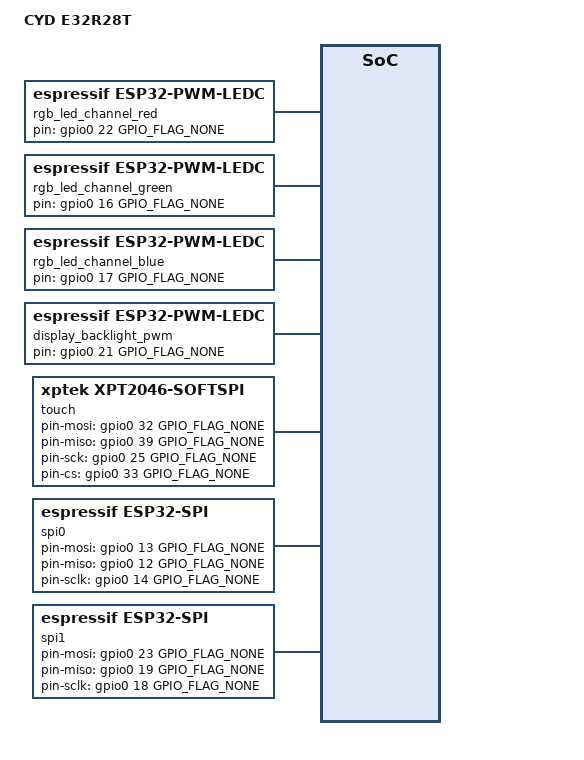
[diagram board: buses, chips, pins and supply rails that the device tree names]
/dts-v1/;

#include <tactility/bindings/root.h>
#include <tactility/bindings/esp32_wifi_pinned.h>
#include <tactility/bindings/esp32_gpio.h>
#include <tactility/bindings/esp32_spi.h>
#include <tactility/bindings/esp32_sdspi.h>
#include <tactility/bindings/esp32_pwm_ledc.h>
#include <tactility/bindings/pwm_backlight.h>
#include <tactility/bindings/rgb_led_pwm.h>
#include <bindings/ili9341.h>
#include <bindings/xpt2046_softspi.h>

/ {
	compatible = "root";
	model = "CYD E32R28T";

	wifi0 {
		compatible = "espressif,esp32-wifi-pinned";
		status = "disabled";
	};

	gpio0 {
		compatible = "espressif,esp32-gpio";
		gpio-count = <40>;
	};


	rgb_led_channel_red {
		compatible = "espressif,esp32-pwm-ledc";
		pin = <&gpio0 22 GPIO_FLAG_NONE>;
		period-ns = <500000>;
		ledc-timer = <0>;
		ledc-channel = <0>;
		inverted;
	};

	rgb_led_channel_green {
		compatible = "espressif,esp32-pwm-ledc";
		pin = <&gpio0 16 GPIO_FLAG_NONE>;
		period-ns = <500000>;
		ledc-timer = <0>;
		ledc-channel = <1>;
		inverted;
	};

	rgb_led_channel_blue {
		compatible = "espressif,esp32-pwm-ledc";
		pin = <&gpio0 17 GPIO_FLAG_NONE>;
		period-ns = <500000>;
		ledc-timer = <0>;
		ledc-channel = <2>;
		inverted;
	};

	rgb_led_pwm {
		compatible = "rgb-led-pwm";
		pwm-red = <&rgb_led_channel_red>;
		pwm-green = <&rgb_led_channel_green>;
		pwm-blue = <&rgb_led_channel_blue>;
		// Default is red, and we want to reset it to off by default
		default-color = <0 0 0>;
		enabled;
	};

	display_backlight_pwm {
		compatible = "espressif,esp32-pwm-ledc";
		pin = <&gpio0 21 GPIO_FLAG_NONE>;
		period-ns = <1953125>;
		ledc-timer = <1>;
		ledc-channel = <3>;
	};

	display_backlight {
		compatible = "pwm-backlight";
		// Off by default so display power-on won't show the screen from before the last power loss.
		// The display backlight is turned on during the boot process.
		status = "disabled";
		pwm = <&display_backlight_pwm>;
	};

	touch {
		compatible = "xptek,xpt2046-softspi";
		pin-mosi = <&gpio0 32 GPIO_FLAG_NONE>;
		pin-miso = <&gpio0 39 GPIO_FLAG_NONE>;
		pin-sck = <&gpio0 25 GPIO_FLAG_NONE>;
		pin-cs = <&gpio0 33 GPIO_FLAG_NONE>;
		x-max = <240>;
		y-max = <320>;
		mirror-x;
	};

	spi0 {
		compatible = "espressif,esp32-spi";
		host = <SPI2_HOST>;
		cs-gpios = <&gpio0 15 GPIO_FLAG_NONE>;
		pin-mosi = <&gpio0 13 GPIO_FLAG_NONE>;
		pin-miso = <&gpio0 12 GPIO_FLAG_NONE>;
		pin-sclk = <&gpio0 14 GPIO_FLAG_NONE>;

		display@0 {
			compatible = "ilitek,ili9341";
			horizontal-resolution = <240>;
			vertical-resolution = <320>;
			mirror-x;
			bgr-order;
			pixel-clock-hz = <40000000>;
			pin-dc = <&gpio0 2 GPIO_FLAG_NONE>;
			backlight = <&display_backlight>;
		};
	};

	spi1 {
		compatible = "espressif,esp32-spi";
		host = <SPI3_HOST>;
		cs-gpios = <&gpio0 5 GPIO_FLAG_NONE>;
		pin-mosi = <&gpio0 23 GPIO_FLAG_NONE>;
		pin-miso = <&gpio0 19 GPIO_FLAG_NONE>;
		pin-sclk = <&gpio0 18 GPIO_FLAG_NONE>;

		sdcard@0 {
			compatible = "espressif,esp32-sdspi";
			frequency-khz = <20000>;
		};
	};
};
